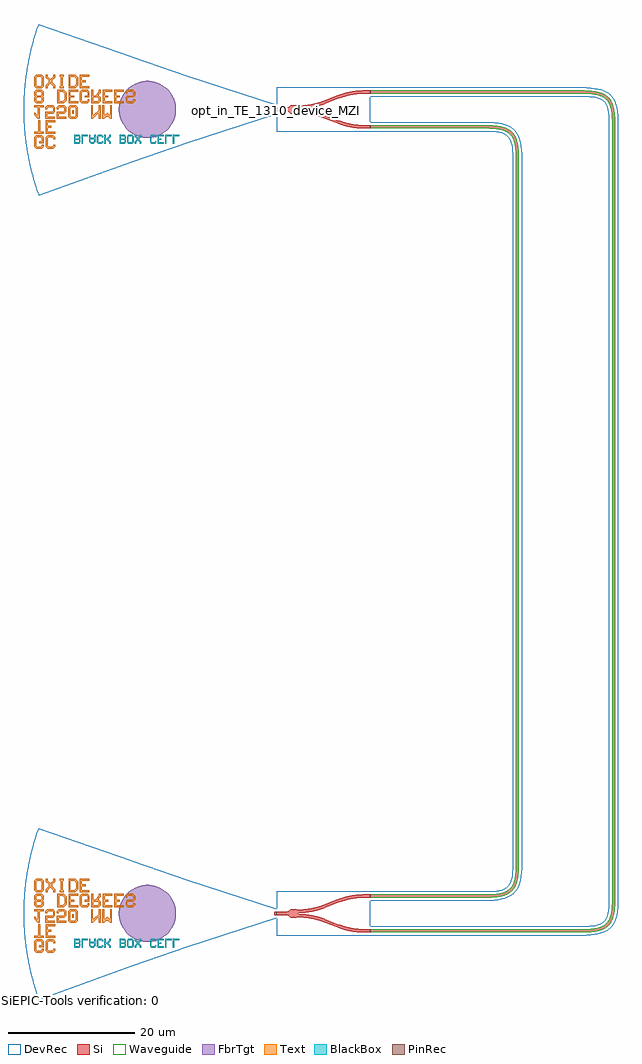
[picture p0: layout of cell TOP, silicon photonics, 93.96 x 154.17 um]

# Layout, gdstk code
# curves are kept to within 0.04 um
import gdstk
lib = gdstk.Library(unit=1e-6, precision=1e-09)
def R(c, l, rs):  # rectangles x0, y0, x1, y1
    for r in rs: c.add(gdstk.rectangle(r[:2], r[2:], *l))
def P(c, l, *ps):  # polygons
    for p in ps: c.add(gdstk.Polygon(p, *l))
Si = (1, 0)
PinRec = (1, 10)
Waveguide = (1, 99)
Text = (10, 0)
DevRec = (68, 0)
FbrTgt = (81, 0)
BlackBox = (998, 0)

text = lib.new_cell('TEXT')
P(text, BlackBox, [(0,0),(0,1.4),(0.8,1.4),(1,1.2),(0.2,1.2),(0.2,0.8),(0.7,0.8),(0.8,0.9),(0.8,1.1),(0.7,1.2),(1,1.2),(1,0.8),(0.9,0.7),(1,0.6),(0.2,0.6),(0.2,0.2),(0.7,0.2),(0.8,0.3),(0.8,0.5),(0.7,0.6),(1,0.6),(1,0.2),(0.8,0)],
  [(1.2,0),(1.2,1.4),(1.4,1.4),(1.4,0.2),(2.2,0.2),(2.2,0)],
  [(2.4,0),(2.4,1.1),(2.7,1.4),(3.1,1.4),(3.3,1.2),(2.8,1.2),(2.6,1),(2.6,0.7),(3.2,0.7),(3.2,1),(3,1.2),(3.3,1.2),(3.4,1.1),(3.4,0),(3.2,0),(3.2,0.5),(2.6,0.5),(2.6,0)],
  [(3.8,0),(3.6,0.2),(3.6,1.2),(3.8,1.4),(4.4,1.4),(4.6,1.2),(4.6,1),(4.4,1),(4.4,1.1),(4.3,1.2),(3.9,1.2),(3.8,1.1),(3.8,0.3),(3.9,0.2),(4.3,0.2),(4.4,0.3),(4.4,0.4),(4.6,0.4),(4.6,0.2),(4.4,0)],
  [(4.8,0),(4.8,1.4),(5,1.4),(5,0.8),(5.2,0.8),(5.6,1.2),(5.6,1.4),(5.8,1.4),(5.8,1.1),(5.4,0.7),(5.8,0.3),(5.8,0),(5.6,0),(5.6,0.2),(5.2,0.6),(5,0.6),(5,0)],
  [(7.2,0),(7.2,1.4),(8,1.4),(8.2,1.2),(7.4,1.2),(7.4,0.8),(7.9,0.8),(8,0.9),(8,1.1),(7.9,1.2),(8.2,1.2),(8.2,0.8),(8.1,0.7),(8.2,0.6),(7.4,0.6),(7.4,0.2),(7.9,0.2),(8,0.3),(8,0.5),(7.9,0.6),(8.2,0.6),(8.2,0.2),(8,0)],
  [(8.6,0),(8.4,0.2),(8.4,1.2),(8.6,1.4),(9.2,1.4),(9.4,1.2),(9.4,0.7),(9.2,0.7),(9.2,1.1),(9.1,1.2),(8.7,1.2),(8.6,1.1),(8.6,0.3),(8.7,0.2),(9.1,0.2),(9.2,0.3),(9.2,0.7),(9.4,0.7),(9.4,0.2),(9.2,0)],
  [(9.6,0),(9.6,0.3),(9.9,0.6),(9.9,0.8),(9.6,1.1),(9.6,1.4),(9.8,1.4),(9.8,1.2),(10.1,0.9),(10.4,1.2),(10.4,1.4),(10.6,1.4),(10.6,1.1),(10.3,0.8),(10.3,0.6),(10.6,0.3),(10.6,0),(10.4,0),(10.4,0.2),(10.1,0.5),(9.8,0.2),(9.8,0)],
  [(12.2,0),(12,0.2),(12,1.2),(12.2,1.4),(12.8,1.4),(13,1.2),(13,1),(12.8,1),(12.8,1.1),(12.7,1.2),(12.3,1.2),(12.2,1.1),(12.2,0.3),(12.3,0.2),(12.7,0.2),(12.8,0.3),(12.8,0.4),(13,0.4),(13,0.2),(12.8,0)],
  [(13.2,0),(13.2,1.4),(14.2,1.4),(14.2,1.2),(13.4,1.2),(13.4,0.8),(13.8,0.8),(13.8,0.6),(13.4,0.6),(13.4,0.2),(14.2,0.2),(14.2,0)],
  [(14.4,0),(14.4,1.4),(14.6,1.4),(14.6,0.2),(15.4,0.2),(15.4,0)],
  [(15.6,0),(15.6,1.4),(15.8,1.4),(15.8,0.2),(16.6,0.2),(16.6,0)])

gc_te_1550_8degoxide_bb = lib.new_cell('GC_TE_1550_8degOxide_BB')
R(gc_te_1550_8degoxide_bb, Si, [(-0.4,-0.25,0,0.25)])
R(gc_te_1550_8degoxide_bb, Text, [(-32.313,0.092,-32.013,0.692)])
P(gc_te_1550_8degoxide_bb, Text, [(-37.67,1.71),(-37.67,3.51),(-38.27,3.51),(-38.27,3.81),(-36.77,3.81),(-36.77,3.51),(-37.37,3.51),(-37.37,1.71)],
  [(-37.97,-5.49),(-38.27,-5.19),(-38.27,-3.69),(-37.97,-3.39),(-37.07,-3.39),(-36.77,-3.69),(-36.77,-4.44),(-37.07,-4.44),(-37.07,-3.84),(-37.22,-3.69),(-37.82,-3.69),(-37.97,-3.84),(-37.97,-5.04),(-37.82,-5.19),(-37.22,-5.19),(-37.07,-5.04),(-37.07,-4.44),(-36.77,-4.44),(-36.77,-5.19),(-37.07,-5.49)],
  [(-31.07,-5.49),(-31.07,-3.39),(-29.57,-3.39),(-29.57,-3.69),(-30.77,-3.69),(-30.77,-4.29),(-30.17,-4.29),(-30.17,-4.59),(-30.77,-4.59),(-30.77,-5.19),(-29.57,-5.19),(-29.57,-5.49)],
  [(-32.87,-3.09),(-32.87,-0.99),(-31.37,-0.99),(-31.37,-1.29),(-32.57,-1.29),(-32.57,-1.89),(-31.97,-1.89),(-31.97,-2.19),(-32.57,-2.19),(-32.57,-2.79),(-31.37,-2.79),(-31.37,-3.09)],
  [(-27.47,-3.09),(-27.47,-0.99),(-25.97,-0.99),(-25.97,-1.29),(-27.17,-1.29),(-27.17,-1.89),(-26.57,-1.89),(-26.57,-2.19),(-27.17,-2.19),(-27.17,-2.79),(-25.97,-2.79),(-25.97,-3.09)],
  [(-25.67,-3.09),(-25.67,-0.99),(-24.17,-0.99),(-24.17,-1.29),(-25.37,-1.29),(-25.37,-1.89),(-24.77,-1.89),(-24.77,-2.19),(-25.37,-2.19),(-25.37,-2.79),(-24.17,-2.79),(-24.17,-3.09)],
  [(-36.47,1.71),(-36.47,3.81),(-34.97,3.81),(-34.97,3.51),(-36.17,3.51),(-36.17,2.91),(-35.57,2.91),(-35.57,2.61),(-36.17,2.61),(-36.17,2.01),(-34.97,2.01),(-34.97,1.71)],
  [(-29.313,-0.658),(-29.313,1.442),(-29.013,1.442),(-28.263,0.692),(-28.113,0.692),(-28.113,1.442),(-27.813,1.442),(-27.813,-0.658),(-28.113,-0.658),(-28.113,0.092),(-28.863,0.842),(-29.013,0.842),(-29.013,-0.658)],
  [(-34.22,-5.49),(-34.22,-5.19),(-34.07,-5.19),(-34.07,-3.69),(-34.22,-3.69),(-34.22,-3.39),(-33.62,-3.39),(-33.62,-3.69),(-33.77,-3.69),(-33.77,-5.19),(-33.62,-5.19),(-33.62,-5.49)],
  [(-36.17,4.11),(-36.47,4.41),(-36.47,5.91),(-36.17,6.21),(-35.27,6.21),(-34.97,5.91),(-34.97,5.61),(-35.27,5.61),(-35.27,5.76),(-35.42,5.91),(-36.02,5.91),(-36.17,5.76),(-36.17,4.56),(-36.02,4.41),(-35.42,4.41),(-35.27,4.56),(-35.27,4.71),(-34.97,4.71),(-34.97,4.41),(-35.27,4.11)],
  [(-27.513,-0.658),(-27.513,1.442),(-27.213,1.442),(-26.913,1.142),(-26.613,1.142),(-26.313,1.442),(-26.013,1.442),(-26.013,-0.658),(-26.313,-0.658),(-26.313,0.842),(-26.463,0.842),(-26.763,0.542),(-27.063,0.842),(-27.213,0.842),(-27.213,-0.658)],
  [(-32.613,-0.658),(-32.913,-0.358),(-32.913,1.142),(-32.613,1.442),(-31.713,1.442),(-31.413,1.142),(-32.463,1.142),(-32.613,0.992),(-32.613,-0.208),(-32.463,-0.358),(-31.863,-0.358),(-31.713,-0.208),(-31.713,0.992),(-31.863,1.142),(-31.413,1.142),(-31.413,-0.358),(-31.713,-0.658)],
  [(-32.87,-5.49),(-32.87,-3.39),(-31.82,-3.39),(-31.52,-3.69),(-32.57,-3.69),(-32.57,-5.19),(-31.97,-5.19),(-31.67,-4.89),(-31.67,-3.99),(-31.97,-3.69),(-31.52,-3.69),(-31.37,-3.84),(-31.37,-5.04),(-31.82,-5.49)],
  [(-34.67,-3.09),(-34.67,-0.99),(-33.62,-0.99),(-33.32,-1.29),(-34.37,-1.29),(-34.37,-2.79),(-33.77,-2.79),(-33.47,-2.49),(-33.47,-1.59),(-33.77,-1.29),(-33.32,-1.29),(-33.17,-1.44),(-33.17,-2.64),(-33.62,-3.09)],
  [(-23.57,-3.09),(-23.87,-2.79),(-23.87,-2.49),(-23.57,-2.49),(-23.57,-2.64),(-23.42,-2.79),(-22.82,-2.79),(-22.67,-2.64),(-22.67,-2.34),(-22.82,-2.19),(-23.57,-2.19),(-23.87,-1.89),(-23.87,-1.29),(-23.57,-0.99),(-22.67,-0.99),(-22.37,-1.29),(-22.37,-1.59),(-22.67,-1.59),(-22.67,-1.44),(-22.82,-1.29),(-23.42,-1.29),(-23.57,-1.44),(-23.57,-1.74),(-23.42,-1.89),(-22.67,-1.89),(-22.37,-2.19),(-22.37,-2.79),(-22.67,-3.09)],
  [(-36.213,-0.658),(-36.513,-0.358),(-36.513,-0.058),(-36.213,-0.058),(-36.213,-0.208),(-36.063,-0.358),(-35.463,-0.358),(-35.313,-0.208),(-35.313,0.242),(-35.463,0.392),(-36.513,0.392),(-36.513,1.442),(-35.013,1.442),(-35.013,1.142),(-36.213,1.142),(-36.213,0.692),(-35.313,0.692),(-35.013,0.392),(-35.013,-0.358),(-35.313,-0.658)],
  [(-34.413,-0.658),(-34.713,-0.358),(-34.713,-0.058),(-34.413,-0.058),(-34.413,-0.208),(-34.263,-0.358),(-33.663,-0.358),(-33.513,-0.208),(-33.513,0.242),(-33.663,0.392),(-34.713,0.392),(-34.713,1.442),(-33.213,1.442),(-33.213,1.142),(-34.413,1.142),(-34.413,0.692),(-33.513,0.692),(-33.213,0.392),(-33.213,-0.358),(-33.513,-0.658)],
  [(-37.97,-3.09),(-38.27,-2.79),(-38.27,-2.19),(-38.12,-2.04),(-38.27,-1.89),(-38.27,-1.29),(-37.97,-0.99),(-37.07,-0.99),(-36.77,-1.29),(-37.82,-1.29),(-37.97,-1.44),(-37.97,-1.74),(-37.82,-1.89),(-37.22,-1.89),(-37.07,-1.74),(-37.07,-1.44),(-37.22,-1.29),(-36.77,-1.29),(-36.77,-1.89),(-36.92,-2.04),(-36.77,-2.19),(-37.82,-2.19),(-37.97,-2.34),(-37.97,-2.64),(-37.82,-2.79),(-37.22,-2.79),(-37.07,-2.64),(-37.07,-2.34),(-37.22,-2.19),(-36.77,-2.19),(-36.77,-2.79),(-37.07,-3.09)],
  [(-38.313,-0.658),(-38.313,-0.358),(-37.713,-0.358),(-37.713,0.842),(-37.863,0.842),(-38.163,0.542),(-38.313,0.542),(-38.313,0.842),(-37.713,1.442),(-37.413,1.442),(-37.413,-0.358),(-36.813,-0.358),(-36.813,-0.658)],
  [(-36.47,-5.49),(-36.47,-5.04),(-36.02,-4.59),(-36.02,-4.29),(-36.47,-3.84),(-36.47,-3.39),(-36.17,-3.39),(-36.17,-3.69),(-35.72,-4.14),(-35.27,-3.69),(-35.27,-3.39),(-34.97,-3.39),(-34.97,-3.84),(-35.42,-4.29),(-35.42,-4.59),(-34.97,-5.04),(-34.97,-5.49),(-35.27,-5.49),(-35.27,-5.19),(-35.72,-4.74),(-36.17,-5.19),(-36.17,-5.49)],
  [(-30.77,-3.09),(-31.07,-2.79),(-31.07,-1.29),(-30.77,-0.99),(-29.87,-0.99),(-29.57,-1.29),(-29.57,-1.59),(-29.87,-1.59),(-29.87,-1.44),(-30.02,-1.29),(-30.62,-1.29),(-30.77,-1.44),(-30.77,-2.64),(-30.62,-2.79),(-30.02,-2.79),(-29.87,-2.64),(-29.87,-2.19),(-30.32,-2.19),(-30.32,-1.89),(-29.57,-1.89),(-29.57,-2.79),(-29.87,-3.09)],
  [(-37.97,4.11),(-38.27,4.41),(-38.27,5.91),(-37.97,6.21),(-37.07,6.21),(-36.77,5.91),(-36.77,5.61),(-37.07,5.61),(-37.07,5.76),(-37.22,5.91),(-37.82,5.91),(-37.97,5.76),(-37.97,4.56),(-37.82,4.41),(-37.22,4.41),(-37.07,4.56),(-37.07,5.01),(-37.52,5.01),(-37.52,5.31),(-36.77,5.31),(-36.77,4.41),(-37.07,4.11)],
  [(-29.27,-3.09),(-29.27,-0.99),(-28.07,-0.99),(-27.77,-1.29),(-28.97,-1.29),(-28.97,-1.89),(-28.22,-1.89),(-28.07,-1.74),(-28.07,-1.44),(-28.22,-1.29),(-27.77,-1.29),(-27.77,-1.89),(-28.07,-2.19),(-28.07,-2.34),(-27.77,-2.64),(-27.77,-3.09),(-28.07,-3.09),(-28.07,-2.79),(-28.67,-2.19),(-28.97,-2.19),(-28.97,-3.09)])
P(gc_te_1550_8degoxide_bb, DevRec, [(-37.607,-13.5),(-38.627,-10.245),(-39.378,-6.832),(-39.647,-5.058),(-39.835,-3.274),(-39.969,0.224),(-39.812,3.541),(-39.331,7.097),(-38.557,10.505),(-37.546,13.669),(-22.8,8.353),(-14.109,5.36),(0,0.75),(0,-0.75),(-14.109,-5.36)])
P(gc_te_1550_8degoxide_bb, FbrTgt, [(-20.621,-4.5),(-21.495,-4.37),(-22.326,-4.073),(-23.084,-3.619),(-23.738,-3.026),(-24.264,-2.316),(-24.642,-1.518),(-24.857,-0.661),(-24.9,0.221),(-24.77,1.095),(-24.473,1.926),(-24.019,2.684),(-23.426,3.338),(-22.716,3.864),(-21.918,4.242),(-21.061,4.457),(-20.179,4.5),(-19.305,4.37),(-18.474,4.073),(-17.716,3.619),(-17.062,3.026),(-16.536,2.316),(-16.158,1.518),(-15.943,0.661),(-15.9,-0.221),(-16.03,-1.095),(-16.327,-1.926),(-16.781,-2.684),(-17.374,-3.338),(-18.084,-3.864),(-18.882,-4.242),(-19.739,-4.457)])
gc_te_1550_8degoxide_bb.add(gdstk.FlexPath([(-0.01,0),(0.01,0)], 0.5, ends="flush", simple_path=True, layer=1, datatype=10))  # PinRec
gc_te_1550_8degoxide_bb.add(gdstk.Reference(text, (-32,4)))
gc_te_1550_8degoxide_bb.add(gdstk.Label('Lumerical_INTERCONNECT_library=Design kits/ebeam', (-29,-7), layer=68, texttype=0))
gc_te_1550_8degoxide_bb.add(gdstk.Label('Component=GC_TE_1550_8degOxide_BB', (-28,-5), layer=68, texttype=0))
gc_te_1550_8degoxide_bb.add(gdstk.Label('opt1', (0,0), layer=1, texttype=10))

ebeam_y_1550 = lib.new_cell('ebeam_y_1550')
R(ebeam_y_1550, Si, [(6.5,-3,7.4,-2.5), (-7.4,-0.25,-6,0.25), (6.5,2.5,7.4,3)])
P(ebeam_y_1550, Si, [(6.458,-3),(6.237,-2.997),(6.237,-2.497),(6.5,-2.5),(6.5,-3)],
  [(5.033,-2.908),(3.59,-2.634),(2.265,-2.21),(2.445,-1.744),(3.731,-2.154),(5.033,-2.404)],
  [(6.233,-2.997),(5.033,-2.908),(5.033,-2.404),(6.237,-2.497)],
  [(2.265,-2.21),(0.055,-1.356),(0.235,-0.89),(2.445,-1.744)],
  [(-0.762,-1.076),(-2.334,-0.724),(-4,-0.6),(-4,-0.1),(-2.381,-0.212),(-0.762,-0.555)],
  [(0.055,-1.356),(-0.762,-1.076),(-0.762,-0.555),(0.235,-0.89)],
  [(6.237,2.497),(6.237,2.997),(6.5,3),(6.5,2.5)],
  [(2.445,1.744),(2.267,2.211),(3.59,2.634),(5.033,2.908),(5.033,2.404),(3.731,2.154)],
  [(5.033,2.404),(5.033,2.908),(6.237,2.997),(6.237,2.497)],
  [(0.235,0.89),(0.055,1.356),(2.265,2.21),(2.445,1.744)],
  [(-4,0.1),(-4,0.6),(-2.334,0.724),(-0.762,1.076),(-0.762,0.555),(-2.381,0.212)],
  [(-0.762,0.555),(-0.762,1.076),(0.055,1.356),(0.235,0.89)],
  [(-5.122,-0.662),(-5.442,-0.374),(-5.808,-0.255),(-6,-0.25),(-6,0.25),(-5.817,0.253),(-5.442,0.374),(-5.122,0.662)],
  [(-4.957,-0.703),(-5.122,-0.662),(-5.122,0.662),(-4.538,0.703),(-4,0.6),(-4,-0.6),(-4.509,-0.701)])
R(ebeam_y_1550, DevRec, [(-7.4,-3.5,7.4,3.5)])
ebeam_y_1550.add(gdstk.FlexPath([(-7.35,0),(-7.45,0)], 0.5, ends="flush", simple_path=True, layer=1, datatype=10))  # PinRec
ebeam_y_1550.add(gdstk.FlexPath([(7.35,2.75),(7.45,2.75)], 0.5, ends="flush", simple_path=True, layer=1, datatype=10))  # PinRec
ebeam_y_1550.add(gdstk.FlexPath([(7.35,-2.75),(7.45,-2.75)], 0.5, ends="flush", simple_path=True, layer=1, datatype=10))  # PinRec
ebeam_y_1550.add(gdstk.Label('Component=ebeam_y_1550', (-6,1.5), layer=68, texttype=0))
ebeam_y_1550.add(gdstk.Label('Lumerical_INTERCONNECT_library=Design kits/ebeam', (-6.86,-2.19), layer=68, texttype=0))
ebeam_y_1550.add(gdstk.Label('opt2', (7.4,2.75), layer=1, texttype=10))
ebeam_y_1550.add(gdstk.Label('opt3', (7.4,-2.75), layer=1, texttype=10))
ebeam_y_1550.add(gdstk.Label('opt1', (-7.4,0), layer=1, texttype=10))
ebeam_y_1550.add(gdstk.Label('Ref: Y Zhang, Opt. Express, 21/1, 2013', (-7.5,-1), layer=10, texttype=0))

waveguide = lib.new_cell('Waveguide')
P(waveguide, Si, [(-688.33,-52.37),(-688.33,-51.87),(-653.683,-51.831),(-652.41,-51.641),(-651.796,-51.433),(-651.396,-51.213),(-651.067,-50.943),(-650.796,-50.613),(-650.404,-49.732),(-650.193,-48.505),(-650.14,-47.12),(-650.14,75.38),(-650.194,76.766),(-650.405,77.993),(-650.797,78.874),(-651.144,79.277),(-651.49,79.533),(-652.411,79.902),(-653.869,80.103),(-688.33,80.13),(-688.33,80.63),(-654.669,80.629),(-653.277,80.557),(-652.287,80.386),(-651.593,80.15),(-651.119,79.89),(-650.713,79.557),(-650.31,79.041),(-650.066,78.548),(-649.848,77.83),(-649.714,76.994),(-649.645,75.818),(-649.64,-47.12),(-649.695,-48.551),(-649.884,-49.723),(-650.12,-50.417),(-650.38,-50.891),(-650.713,-51.297),(-651.118,-51.629),(-651.592,-51.889),(-652.139,-52.085),(-653.647,-52.329)])
P(waveguide, Waveguide, [(-688.33,-52.37),(-688.33,-51.87),(-653.683,-51.831),(-652.41,-51.641),(-651.796,-51.433),(-651.396,-51.213),(-651.067,-50.943),(-650.796,-50.613),(-650.404,-49.732),(-650.193,-48.505),(-650.14,-47.12),(-650.14,75.38),(-650.194,76.766),(-650.405,77.993),(-650.797,78.874),(-651.144,79.277),(-651.49,79.533),(-652.411,79.902),(-653.869,80.103),(-688.33,80.13),(-688.33,80.63),(-654.669,80.629),(-653.277,80.557),(-652.287,80.386),(-651.593,80.15),(-651.119,79.89),(-650.713,79.557),(-650.31,79.041),(-650.066,78.548),(-649.848,77.83),(-649.714,76.994),(-649.645,75.818),(-649.64,-47.12),(-649.695,-48.551),(-649.884,-49.723),(-650.12,-50.417),(-650.38,-50.891),(-650.713,-51.297),(-651.118,-51.629),(-651.592,-51.889),(-652.139,-52.085),(-653.647,-52.329)])
P(waveguide, DevRec, [(-688.33,-52.87),(-688.33,-51.37),(-654.89,-51.37),(-653.145,-51.272),(-651.994,-50.974),(-651.514,-50.677),(-651.175,-50.278),(-650.915,-49.695),(-650.737,-48.864),(-650.64,-47.12),(-650.64,75.38),(-650.738,77.125),(-650.916,77.956),(-651.036,78.276),(-651.333,78.756),(-651.515,78.938),(-651.995,79.235),(-653.146,79.533),(-654.241,79.62),(-688.33,79.63),(-688.33,81.13),(-654.89,81.13),(-652.938,81.019),(-651.863,80.785),(-650.94,80.369),(-650.541,80.078),(-649.902,79.331),(-649.668,78.89),(-649.35,77.89),(-649.151,76.082),(-649.14,-47.12),(-649.251,-49.072),(-649.485,-50.147),(-649.901,-51.07),(-650.192,-51.469),(-650.939,-52.108),(-651.862,-52.524),(-652.38,-52.66),(-653.539,-52.823),(-654.89,-52.87)])
waveguide.add(gdstk.FlexPath([(-688.32,80.38),(-688.34,80.38)], 0.5, ends="flush", simple_path=True, layer=1, datatype=10))  # PinRec
waveguide.add(gdstk.FlexPath([(-688.32,-52.12),(-688.34,-52.12)], 0.5, ends="flush", simple_path=True, layer=1, datatype=10))  # PinRec
waveguide.add(gdstk.Label('Lumerical_INTERCONNECT_library=Design kits/EBeam', (-688.33,80.28), layer=68, texttype=0))
waveguide.add(gdstk.Label('Component=ebeam_wg_integral_1550', (-688.33,80.48), layer=68, texttype=0))
waveguide.add(gdstk.Label('cellName=Waveguide', (-688.33,80.58), layer=68, texttype=0))
waveguide.add(gdstk.Label('Spice_param:wg_length=0.000206277 wg_width=5e-07 points="[[-688.33,80.38],[-649.89,80.38],[-649.89,-52.12],[-688.33,-52.12]]" radius=5e-06', (-688.33,80.38), layer=68, texttype=0))
waveguide.add(gdstk.Label('Length=206.277 (microns)', (-688.33,79.78), layer=68, texttype=0))
waveguide.add(gdstk.Label('waveguide_type=Strip TE 1550 nm, w=500 nm', (-688.33,80.18), layer=68, texttype=0))
waveguide.add(gdstk.Label('opt1', (-688.33,80.38), layer=1, texttype=10))
waveguide.add(gdstk.Label('opt2', (-688.33,-52.12), layer=1, texttype=10))

waveguide_1 = lib.new_cell('Waveguide$1')
P(waveguide_1, Si, [(-688.33,-46.87),(-688.33,-46.37),(-670.1,-46.37),(-668.21,-46.257),(-667.118,-45.98),(-666.353,-45.516),(-666.006,-45.113),(-665.786,-44.713),(-665.487,-43.664),(-665.388,-42.826),(-665.35,-41.62),(-665.35,69.88),(-665.389,71.087),(-665.516,72.077),(-665.695,72.745),(-665.891,73.184),(-666.135,73.548),(-666.433,73.846),(-667.236,74.286),(-668.541,74.559),(-670.1,74.63),(-688.33,74.63),(-688.33,75.13),(-669.879,75.129),(-667.97,74.985),(-667.207,74.803),(-666.557,74.528),(-666.018,74.147),(-665.591,73.652),(-665.276,73.048),(-665.058,72.33),(-664.924,71.494),(-664.86,70.528),(-664.85,-41.62),(-664.89,-42.862),(-664.995,-43.75),(-665.177,-44.513),(-665.389,-45.042),(-665.667,-45.5),(-666.017,-45.886),(-666.439,-46.2),(-666.932,-46.444),(-667.496,-46.625),(-668.309,-46.775),(-670.1,-46.87)])
P(waveguide_1, Waveguide, [(-688.33,-46.87),(-688.33,-46.37),(-670.1,-46.37),(-668.21,-46.257),(-667.118,-45.98),(-666.353,-45.516),(-666.006,-45.113),(-665.786,-44.713),(-665.487,-43.664),(-665.388,-42.826),(-665.35,-41.62),(-665.35,69.88),(-665.389,71.087),(-665.516,72.077),(-665.695,72.745),(-665.891,73.184),(-666.135,73.548),(-666.433,73.846),(-667.236,74.286),(-668.541,74.559),(-670.1,74.63),(-688.33,74.63),(-688.33,75.13),(-669.879,75.129),(-667.97,74.985),(-667.207,74.803),(-666.557,74.528),(-666.018,74.147),(-665.591,73.652),(-665.276,73.048),(-665.058,72.33),(-664.924,71.494),(-664.86,70.528),(-664.85,-41.62),(-664.89,-42.862),(-664.995,-43.75),(-665.177,-44.513),(-665.389,-45.042),(-665.667,-45.5),(-666.017,-45.886),(-666.439,-46.2),(-666.932,-46.444),(-667.496,-46.625),(-668.309,-46.775),(-670.1,-46.87)])
P(waveguide_1, DevRec, [(-688.33,-47.37),(-688.33,-45.87),(-670.1,-45.87),(-668.869,-45.827),(-667.906,-45.694),(-667.204,-45.474),(-666.724,-45.177),(-666.542,-44.995),(-666.245,-44.515),(-666.125,-44.195),(-665.947,-43.364),(-665.85,-41.62),(-665.85,69.88),(-665.893,71.111),(-666.026,72.074),(-666.386,73.039),(-666.543,73.256),(-666.942,73.595),(-667.907,73.955),(-668.87,74.088),(-688.33,74.13),(-688.33,75.63),(-670.1,75.63),(-668.148,75.519),(-667.073,75.285),(-666.591,75.103),(-665.751,74.578),(-665.403,74.23),(-665.112,73.831),(-664.696,72.908),(-664.462,71.833),(-664.361,70.582),(-664.35,-41.62),(-664.461,-43.572),(-664.695,-44.647),(-664.877,-45.129),(-665.402,-45.969),(-665.75,-46.317),(-666.59,-46.842),(-667.072,-47.024),(-668.147,-47.258),(-670.1,-47.37)])
waveguide_1.add(gdstk.FlexPath([(-688.32,74.88),(-688.34,74.88)], 0.5, ends="flush", simple_path=True, layer=1, datatype=10))  # PinRec
waveguide_1.add(gdstk.FlexPath([(-688.32,-46.62),(-688.34,-46.62)], 0.5, ends="flush", simple_path=True, layer=1, datatype=10))  # PinRec
waveguide_1.add(gdstk.Label('Lumerical_INTERCONNECT_library=Design kits/EBeam', (-688.33,74.78), layer=68, texttype=0))
waveguide_1.add(gdstk.Label('Component=ebeam_wg_integral_1550', (-688.33,74.98), layer=68, texttype=0))
waveguide_1.add(gdstk.Label('cellName=Waveguide', (-688.33,75.08), layer=68, texttype=0))
waveguide_1.add(gdstk.Label('Spice_param:wg_length=0.000164857 wg_width=5e-07 points="[[-688.33,74.88],[-665.1,74.88],[-665.1,-46.62],[-688.33,-46.62]]" radius=5e-06', (-688.33,74.88), layer=68, texttype=0))
waveguide_1.add(gdstk.Label('Length=164.857 (microns)', (-688.33,74.28), layer=68, texttype=0))
waveguide_1.add(gdstk.Label('waveguide_type=Strip TE 1550 nm, w=500 nm', (-688.33,74.68), layer=68, texttype=0))
waveguide_1.add(gdstk.Label('opt1', (-688.33,74.88), layer=1, texttype=10))
waveguide_1.add(gdstk.Label('opt2', (-688.33,-46.62), layer=1, texttype=10))

top = lib.new_cell('TOP')
r = gdstk.Reference(gc_te_1550_8degoxide_bb, (0.05,0.13), x_reflection=True); r.repetition = gdstk.Repetition(1, 2, v1=(0,0), v2=(0,-127)); top.add(r)
top.add(gdstk.Reference(ebeam_y_1550, (7.45,0.13), x_reflection=True))
top.add(gdstk.Reference(ebeam_y_1550, (7.45,-126.87), x_reflection=True))
top.add(gdstk.Reference(waveguide, (703.18,-77.5)))
top.add(gdstk.Reference(waveguide_1, (703.18,-77.5)))
top.add(gdstk.Label('opt_in_TE_1310_device_MZI', (0,0), layer=10, texttype=0))

lib.write_gds('TOP.gds')
